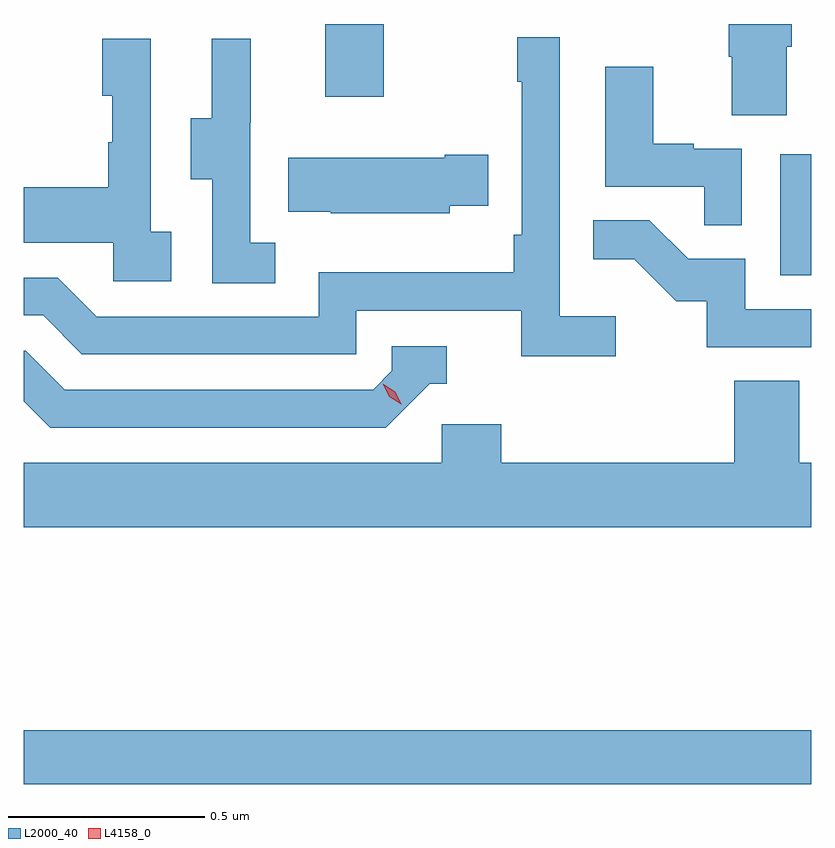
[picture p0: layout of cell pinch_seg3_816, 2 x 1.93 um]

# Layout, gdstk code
import gdstk
lib = gdstk.Library(unit=1e-6, precision=1e-09)
def R(c, l, rs):  # rectangles x0, y0, x1, y1
    for r in rs: c.add(gdstk.rectangle(r[:2], r[2:], *l))
def P(c, l, *ps):  # polygons
    for p in ps: c.add(gdstk.Polygon(p, *l))
L2000_40 = (2000, 40)
L4158_0 = (4158, 0)

pinch_seg3_816 = lib.new_cell('pinch_seg3_816')
R(pinch_seg3_816, L2000_40, [(873.175,716.248,875.175,716.384), (875.096,717.54,875.175,717.847), (873.941,717.993,874.089,718.178)])
P(pinch_seg3_816, L2000_40, [(875.113,718.12),(875.126,718.12),(875.126,718.178),(874.966,718.178),(874.966,718.095),(874.973,718.095),(874.973,717.946),(875.113,717.946)],
  [(874.678,717.436),(874.536,717.436),(874.536,718.144),(874.428,718.144),(874.428,718.031),(874.44,718.031),(874.44,717.643),(874.42,717.643),(874.42,717.547),(873.924,717.547),(873.924,717.435),(873.36,717.435),(873.261,717.534),(873.175,717.534),(873.175,717.438),(873.224,717.438),(873.323,717.339),(874.02,717.339),(874.02,717.45),(874.439,717.45),(874.439,717.334),(874.678,717.334)],
  [(873.55,717.65),(873.498,717.65),(873.498,718.141),(873.374,718.141),(873.374,717.996),(873.4,717.996),(873.4,717.878),(873.39,717.878),(873.39,717.763),(873.175,717.763),(873.175,717.623),(873.402,717.623),(873.402,717.525),(873.55,717.525)],
  [(873.814,717.623),(873.75,717.623),(873.75,717.927),(873.752,717.927),(873.752,718.141),(873.653,718.141),(873.653,717.939),(873.599,717.939),(873.599,717.784),(873.654,717.784),(873.654,717.52),(873.814,717.52)],
  [(874.998,717.861),(874.877,717.861),(874.877,717.874),(874.774,717.874),(874.774,718.069),(874.652,718.069),(874.652,717.765),(874.903,717.765),(874.903,717.667),(874.998,717.667)],
  [(874.257,717.716),(874.355,717.716),(874.355,717.846),(874.244,717.846),(874.244,717.838),(873.847,717.838),(873.847,717.701),(873.955,717.701),(873.955,717.698),(874.257,717.698)],
  [(875.175,717.453),(875.007,717.453),(875.007,717.582),(874.862,717.582),(874.764,717.68),(874.621,717.68),(874.621,717.581),(874.725,717.581),(874.832,717.474),(874.909,717.474),(874.909,717.357),(875.175,717.357)],
  [(874.206,717.264),(874.249,717.264),(874.249,717.36),(874.11,717.36),(874.11,717.297),(874.062,717.249),(873.279,717.249),(873.18,717.348),(873.175,717.348),(873.175,717.22),(873.242,717.153),(874.095,717.153)],
  [(875.175,717.064),(875.144,717.064),(875.144,717.272),(874.979,717.272),(874.979,717.064),(874.388,717.064),(874.388,717.162),(874.236,717.162),(874.236,717.064),(873.175,717.064),(873.175,716.9),(875.175,716.9)])
P(pinch_seg3_816, L4158_0, [(874.134,717.212),(874.103,717.231),(874.087,717.264),(874.087,717.264),(874.087,717.264),(874.118,717.244),(874.134,717.212),(874.134,717.212)])

lib.write_gds('pinch_seg3_816.gds')
